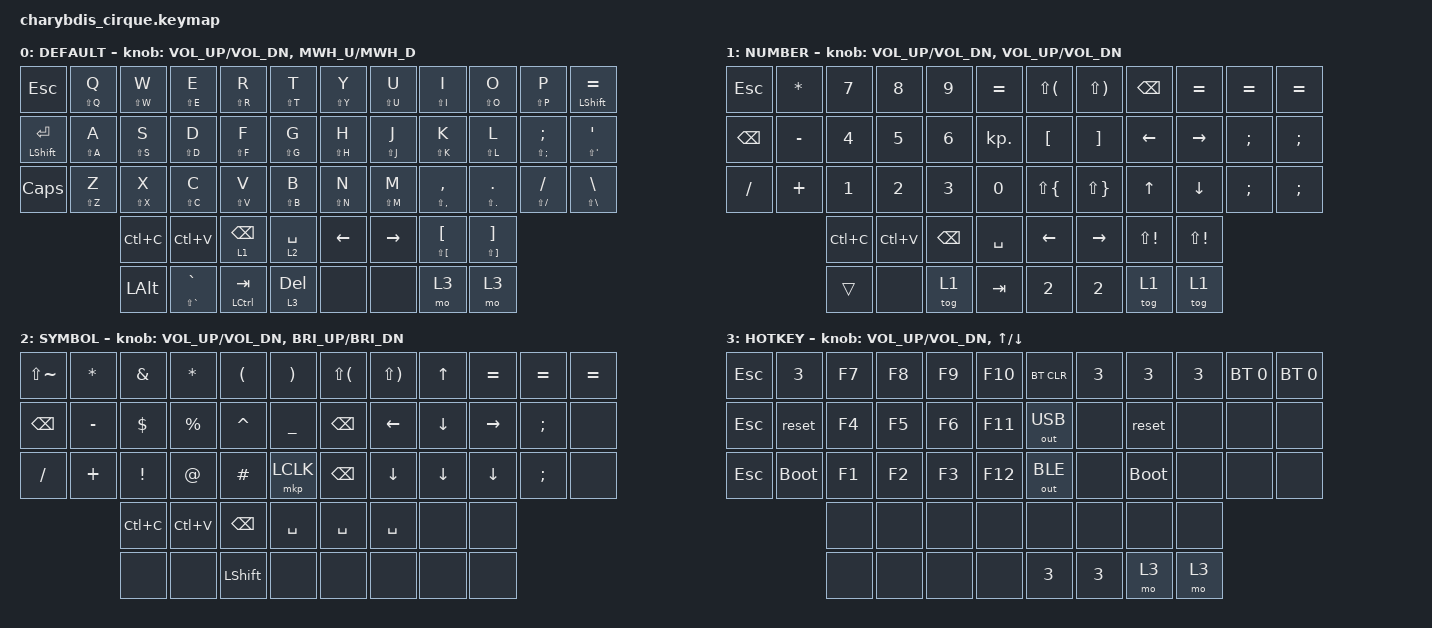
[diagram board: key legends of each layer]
#include <dt-bindings/zmk/mouse.h>
#include <behaviors.dtsi>
#include <dt-bindings/zmk/bt.h>
#include <dt-bindings/zmk/keys.h>
#include <dt-bindings/zmk/outputs.h>


// mouse move settings

#define MMV_U MOVE_VERT(-650)
#define MMV_D MOVE_VERT(650)
#define MMV_L MOVE_HOR(-650)
#define MMV_R MOVE_HOR(650)

&mmv {
    time-to-max-speed-ms = <300>;
    acceleration-exponent = <1>;
};

// mouse wheel settings

#define MWH_U SCROLL_VERT(10)
#define MWH_D SCROLL_VERT(-10)
#define MWH_L SCROLL_HOR(-10)
#define MWH_R SCROLL_HOR(10)

&mwh {
    time-to-max-speed-ms = <300>;
    acceleration-exponent = <0>;
};

&lt {
    quick-tap-ms = <170>;
    flavor = "tap-preferred";
    tapping-term-ms = <200>;
};

#define DEFAULT 0
#define NUMBER  1
#define SYMBOL  2
#define HOTKEY  3
#define MSE     4

#define AS(keycode) &as LS(keycode) keycode

/ {
    behaviors {
        td0: tap_dance_0 {
            compatible = "zmk,behavior-tap-dance";
            label = "TAP_DANCE_0";
            #binding-cells = <0>;
            tapping-term-ms = <200>;
            bindings = <&kp ESC>, <&kp TAB>;
        };
    };

    behaviors {
        as: auto_shift {
            compatible = "zmk,behavior-hold-tap";
            label = "AUTO_SHIFT";
            #binding-cells = <2>;
            tapping-term-ms = <200>;
            quick-tap-ms = <0>;
            flavor = "tap-preferred";
            bindings = <&kp>, <&kp>;
        };

        modcp: mod_copy {
            compatible = "zmk,behavior-mod-morph";
            label = "MOD_COPY";
            #binding-cells = <0>;
            bindings = <&as LS(C) C>, <&kp C>;

            mods = <(LGUI | RGUI)>;
        };

        ltq: ltq {
            compatible = "zmk,behavior-hold-tap";
            label = "LTQ";
            #binding-cells = <2>;
            tapping-term-ms = <200>;
            quick_tap_ms = <0>;
            flavor = "hold-preferred";
            bindings = <&mo>, <&kp>;

            quick-tap-ms = <200>;
            global-quick-tap;
            retro-tap;
        };

        td1: td1 {
            compatible = "zmk,behavior-tap-dance";
            label = "TD1";
            #binding-cells = <0>;
            bindings = <&tog 1>, <&tog 3>;

            tapping-term-ms = <200>;
        };

        td2: td2 {
            compatible = "zmk,behavior-tap-dance";
            label = "TD2";
            #binding-cells = <0>;
            tapping-term-ms = <150>;
            bindings = <&lt 2 SPACE>, <&kp SPACE>;
        };
    };

    macros {
        macro_email_g: macro_email_g {
            // 135115

            compatible = "zmk,behavior-macro";
            label = "MACRO_EMAIL_GMAIL";
            #binding-cells = <0>;
            bindings = <&kp N1 &kp N3 &kp N5 &kp N1 &kp N1 &kp N5>;
        };
    };

    combos {
        compatible = "zmk,combos";

        combo_left {
            timeout-ms = <50>;
            key-positions = <2 3>;
            bindings = <&mkp LCLK>;
        };

        combo_right {
            timeout-ms = <50>;
            key-positions = <36 37>;
            bindings = < &mkp MCLK >;
        };

        combo_LSHFT {
            timeout-ms = <50>;
            key-positions = <15 16>;
            bindings = <&mkp RCLK>;
        };

        combo_LSH {
            timeout-ms = <50>;
            key-positions = <14 15>;
            bindings = <&kp LSHFT>;
        };

        combo_LGUI {
            timeout-ms = <50>;
            key-positions = <26 27>;
            bindings = <&kp LGUI>;
        };

        combo_GU {
            timeout-ms = <50>;
            key-positions = <27 28>;
            bindings = <&tog 1>;
        };

        combo_GUI {
            timeout-ms = <50>;
            key-positions = <>;
            bindings = < &kp TAB >;
        };
    };

    keymap {
        compatible = "zmk,keymap";

        default_layer {
            label = "DEFAULT";
            bindings = <
&kp ESC               &as LS(Q) Q  &as LS(W) W   &as LS(E) E          &as LS(R) R    &as LS(T) T   &as LS(Y) Y  &as LS(U) U  &as LS(I) I          &as LS(O) O        &as LS(P) P        &mt LEFT_SHIFT EQUAL
&mt LEFT_SHIFT ENTER  &as LS(A) A  &as LS(S) S   &as LS(D) D          &as LS(F) F    &as LS(G) G   &as LS(H) H  &as LS(J) J  &as LS(K) K          &as LS(L) L        &as LS(SEMI) SEMI  &as LS(SQT) SQT
&kp CAPS              &as LS(Z) Z  &as LS(X) X   &as LS(C) C          &as LS(V) V    &as LS(B) B   &as LS(N) N  &as LS(M) M  &as LS(COMMA) COMMA  &as LS(DOT) DOT    &as LS(FSLH) FSLH  &as LS(BSLH) BSLH
                                   &kp LC(C)     &kp LC(V)            &lt 1 BSPC     &lt 2 SPACE   &kp LEFT     &kp RIGHT    &as LS(LBKT) LBKT    &as LS(RBKT) RBKT
                                   &kp LEFT_ALT  &as LS(GRAVE) GRAVE  &mt LCTRL TAB  &lt 3 DELETE  &none        &none        &mo 3                &mo 3
            >;

            sensor-bindings = <&inc_dec_kp C_VOL_UP C_VOL_DN &inc_dec_kp MWH_U MWH_D>;
            trackball-bindings = <&tmv>;
        };

        number_layer {
            label = "NUMBER";
            bindings = <
&kp ESC   &kp STAR   &kp N7     &kp N8     &kp N9    &kp EQUAL   &kp LS(LPAR)  &kp LS(RPAR)  &kp BSPC      &kp EQUAL     &kp EQUAL  &kp EQUAL
&kp BSPC  &kp MINUS  &kp N4     &kp N5     &kp N6    &kp KP_DOT  &kp LBKT      &kp RBKT      &kp LEFT      &kp RIGHT     &kp SEMI   &kp SEMI
&kp FSLH  &kp PLUS   &kp N1     &kp N2     &kp N3    &kp N0      &kp LS(LBRC)  &kp LS(RBRC)  &kp UP        &kp DOWN      &kp SEMI   &kp SEMI
                     &kp LC(C)  &kp LC(V)  &kp BSPC  &kp SPACE   &kp LEFT      &kp RIGHT     &kp LS(EXCL)  &kp LS(EXCL)
                     &trans     &none      &tog 1    &kp TAB     &kp N2        &kp N2        &tog 1        &tog 1
            >;

            sensor-bindings =
                <&inc_dec_kp C_VOL_UP C_VOL_DN>,
                <&inc_dec_kp C_VOL_UP C_VOL_DN>;

            trackball-bindings = <&tsl>;
        };

        symbol_layer {
            label = "SYMBOL";
            bindings = <
&kp LS(TILDE)  &kp STAR   &kp AMPS   &kp STAR   &kp LPAR   &kp RPAR   &kp LS(LPAR)  &kp LS(RPAR)  &kp UP    &kp EQUAL  &kp EQUAL  &kp EQUAL
&kp BSPC       &kp MINUS  &kp DLLR   &kp PRCNT  &kp CARET  &kp UNDER  &kp BSPC      &kp LEFT      &kp DOWN  &kp RIGHT  &kp SEMI   &none
&kp FSLH       &kp PLUS   &kp EXCL   &kp AT     &kp HASH   &mkp LCLK  &kp BSPC      &kp DOWN      &kp DOWN  &kp DOWN   &kp SEMI   &none
                          &kp LC(C)  &kp LC(V)  &kp BSPC   &kp SPACE  &kp SPACE     &kp SPACE     &none     &none
                          &none      &none      &kp LSHFT  &none      &none         &none         &none     &none
            >;

            trackball-bindings = <&tmv_fine>;
            sensor-bindings =
                <&inc_dec_kp C_VOL_UP C_VOL_DN>,
                <&inc_dec_kp C_BRI_UP C_BRI_DN>;
        };

        hotkey_layer {
            label = "HOTKEY";
            bindings = <
&kp ESC  &kp N3       &kp F7  &kp F8  &kp F9  &kp F10  &bt BT_CLR    &kp N3        &kp N3       &kp N3  &bt BT_SEL 0  &bt BT_SEL 0
&kp ESC  &reset       &kp F4  &kp F5  &kp F6  &kp F11  &out OUT_USB  &none         &reset       &none   &none         &none
&kp ESC  &bootloader  &kp F1  &kp F2  &kp F3  &kp F12  &out OUT_BLE  &none         &bootloader  &none   &none         &none
                      &none   &none   &none   &none    &none         &none         &none        &none
                      &none   &none   &none   &none    &kp NUMBER_3  &kp NUMBER_3  &mo 3        &mo 3
            >;

            trackball-bindings = <&tmv_x>;
            sensor-bindings =
                <&inc_dec_kp C_VOL_UP C_VOL_DN>,
                <&inc_dec_kp UP DOWN>;
        };
    };
};
